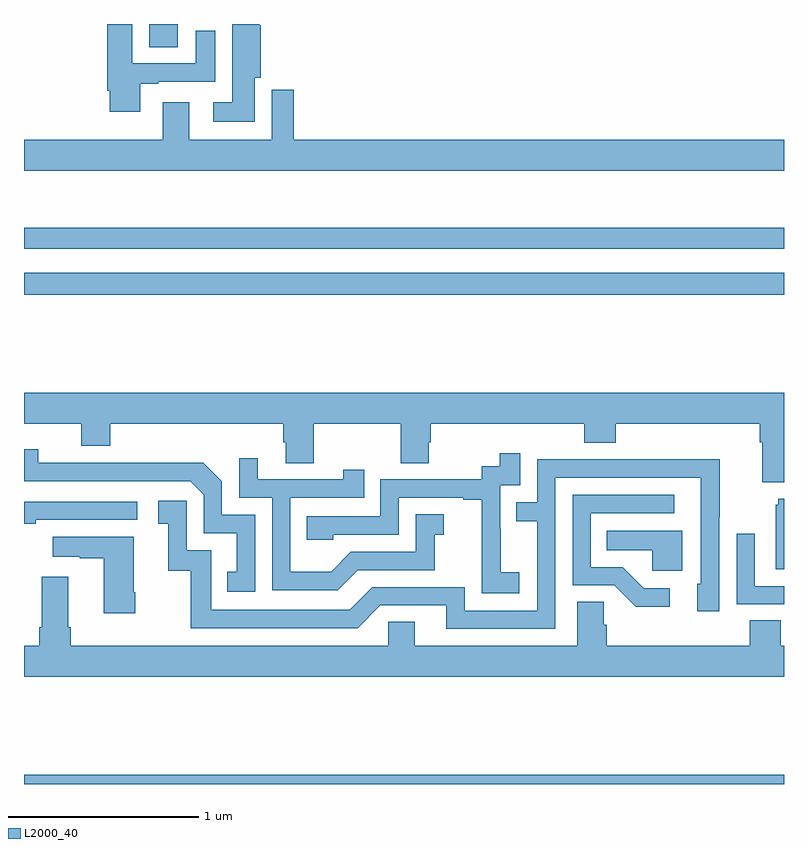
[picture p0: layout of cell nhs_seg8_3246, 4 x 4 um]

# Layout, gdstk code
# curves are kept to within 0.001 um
import gdstk
lib = gdstk.Library(unit=1e-6, precision=1e-09)
def R(c, l, rs):  # rectangles x0, y0, x1, y1
    for r in rs: c.add(gdstk.rectangle(r[:2], r[2:], *l))
def P(c, l, *ps):  # polygons
    for p in ps: c.add(gdstk.Polygon(p, *l))
L2000_40 = (2000, 40)

nhs_seg8_3246 = lib.new_cell('nhs_seg8_3246')
R(nhs_seg8_3246, L2000_40, [(311,1151.9,315,1151.948), (311,1154.476,315,1154.592), (311,1154.718,315,1154.827), (311.66,1155.778,311.809,1155.9)])
P(nhs_seg8_3246, L2000_40, [(311.611,1155.585),(311.707,1155.585),(311.707,1155.597),(312.007,1155.597),(312.007,1155.865),(311.903,1155.865),(311.903,1155.693),(311.569,1155.693),(311.569,1155.9),(311.438,1155.9),(311.438,1155.55),(311.45,1155.55),(311.45,1155.438),(311.611,1155.438)],
  [(312.214,1155.618),(312.245,1155.618),(312.245,1155.893),(312.237,1155.9),(312.095,1155.9),(312.095,1155.487),(311.997,1155.487),(311.997,1155.386),(312.214,1155.386)],
  [(315,1155.292),(312.419,1155.292),(312.419,1155.553),(312.303,1155.553),(312.303,1155.292),(311.869,1155.292),(311.869,1155.487),(311.729,1155.487),(311.729,1155.292),(311,1155.292),(311,1155.128),(315,1155.128)],
  [(315,1153.96),(311,1153.96),(311,1153.796),(311.3,1153.796),(311.3,1153.679),(311.453,1153.679),(311.453,1153.796),(312.365,1153.796),(312.365,1153.698),(312.377,1153.698),(312.377,1153.588),(312.525,1153.588),(312.525,1153.796),(312.982,1153.796),(312.982,1153.588),(313.129,1153.588),(313.129,1153.698),(313.142,1153.698),(313.142,1153.796),(313.949,1153.796),(313.949,1153.697),(314.114,1153.697),(314.114,1153.796),(314.873,1153.796),(314.873,1153.7),(314.885,1153.7),(314.885,1153.487),(315,1153.487)],
  [(312.216,1153.317),(312.042,1153.317),(312.042,1153.494),(311.944,1153.592),(311.536,1153.592),(311.536,1153.59),(311.076,1153.59),(311.076,1153.663),(311,1153.663),(311,1153.494),(311.874,1153.494),(311.946,1153.422),(311.946,1153.221),(312.119,1153.221),(312.119,1153.017),(312.07,1153.017),(312.07,1152.912),(312.216,1152.912)],
  [(313.606,1153.015),(313.508,1153.015),(313.508,1153.244),(313.506,1153.244),(313.506,1153.473),(313.611,1153.473),(313.611,1153.642),(313.503,1153.642),(313.503,1153.572),(313.41,1153.572),(313.41,1153.503),(312.876,1153.503),(312.876,1153.308),(312.487,1153.308),(312.487,1153.185),(312.627,1153.185),(312.627,1153.212),(312.972,1153.212),(312.972,1153.407),(313.313,1153.407),(313.313,1153.395),(313.409,1153.395),(313.409,1153.111),(313.408,1153.111),(313.408,1152.905),(313.606,1152.905)],
  [(312.757,1153.026),(313.161,1153.026),(313.161,1153.211),(313.21,1153.211),(313.21,1153.321),(313.062,1153.321),(313.062,1153.122),(312.72,1153.122),(312.616,1153.018),(312.402,1153.018),(312.402,1153.407),(312.791,1153.407),(312.791,1153.555),(312.68,1153.555),(312.68,1153.503),(312.229,1153.503),(312.229,1153.615),(312.132,1153.615),(312.132,1153.407),(312.306,1153.407),(312.306,1152.921),(312.652,1152.921)],
  [(313.797,1153.512),(314.561,1153.512),(314.562,1152.954),(314.543,1152.954),(314.543,1152.81),(314.658,1152.81),(314.658,1153.303),(314.661,1153.303),(314.661,1153.61),(314.197,1153.61),(314.197,1153.608),(313.701,1153.608),(313.701,1153.383),(313.591,1153.383),(313.591,1153.282),(313.701,1153.282),(313.701,1152.813),(313.32,1152.813),(313.32,1152.936),(312.834,1152.936),(312.714,1152.816),(311.985,1152.816),(311.985,1153.131),(311.856,1153.131),(311.856,1153.39),(311.706,1153.39),(311.706,1153.269),(311.759,1153.269),(311.759,1153.023),(311.877,1153.023),(311.877,1152.72),(312.756,1152.72),(312.876,1152.84),(313.223,1152.84),(313.223,1152.717),(313.797,1152.717)],
  [(314.398,1152.93),(314.263,1152.93),(314.152,1153.041),(313.983,1153.041),(313.983,1153.326),(314.422,1153.326),(314.422,1153.422),(313.887,1153.422),(313.887,1152.945),(314.106,1152.945),(314.219,1152.833),(314.398,1152.833)],
  [(315,1153.402),(314.969,1153.402),(314.969,1153.371),(314.957,1153.371),(314.957,1153.031),(315,1153.031)],
  [(311.063,1153.29),(311.596,1153.29),(311.596,1153.386),(311,1153.386),(311,1153.27),(311.063,1153.27)],
  [(314.464,1153.234),(314.068,1153.234),(314.068,1153.13),(314.307,1153.13),(314.307,1153.022),(314.464,1153.022)],
  [(315,1152.942),(314.847,1152.942),(314.847,1153.216),(314.751,1153.216),(314.751,1152.846),(315,1152.846)],
  [(311.586,1152.91),(311.578,1152.91),(311.578,1153.201),(311.151,1153.201),(311.151,1153.097),(311.294,1153.097),(311.294,1153.087),(311.42,1153.087),(311.42,1152.798),(311.586,1152.798)],
  [(315,1152.628),(314.984,1152.628),(314.984,1152.761),(314.819,1152.761),(314.819,1152.628),(314.066,1152.628),(314.066,1152.737),(314.052,1152.737),(314.052,1152.86),(313.913,1152.86),(313.913,1152.628),(313.057,1152.628),(313.057,1152.755),(312.918,1152.755),(312.918,1152.628),(311.246,1152.628),(311.246,1152.724),(311.233,1152.724),(311.233,1152.991),(311.093,1152.991),(311.093,1152.724),(311.081,1152.724),(311.081,1152.628),(311,1152.628),(311,1152.464),(315,1152.464)])

lib.write_gds('nhs_seg8_3246.gds')
